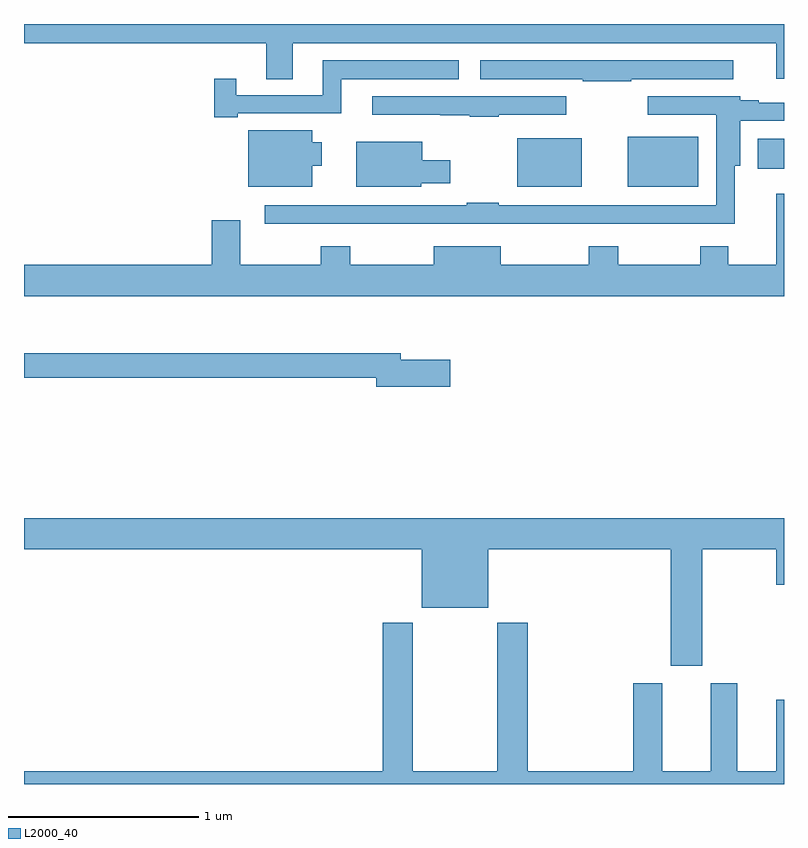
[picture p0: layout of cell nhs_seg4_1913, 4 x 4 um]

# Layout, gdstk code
import gdstk
lib = gdstk.Library(unit=1e-6, precision=1e-09)
def R(c, l, rs):  # rectangles x0, y0, x1, y1
    for r in rs: c.add(gdstk.rectangle(r[:2], r[2:], *l))
def P(c, l, *ps):  # polygons
    for p in ps: c.add(gdstk.Polygon(p, *l))
L2000_40 = (2000, 40)

nhs_seg4_1913 = lib.new_cell('nhs_seg4_1913')
R(nhs_seg4_1913, L2000_40, [(211.595,816.044,211.936,816.298), (212.177,816.044,212.548,816.307), (212.862,816.137,213,816.295)])
P(nhs_seg4_1913, L2000_40, [(210.415,816.8),(212.96,816.8),(212.96,816.612),(213,816.612),(213,816.9),(209,816.9),(209,816.8),(210.275,816.8),(210.275,816.61),(210.415,816.61)],
  [(212.195,816.608),(212.734,816.608),(212.734,816.709),(211.401,816.709),(211.401,816.608),(211.942,816.608),(211.942,816.598),(212.195,816.598)],
  [(210.124,816.429),(210.67,816.429),(210.67,816.608),(211.288,816.608),(211.288,816.709),(210.572,816.709),(210.572,816.525),(210.118,816.525),(210.118,816.613),(210.001,816.613),(210.001,816.409),(210.124,816.409)],
  [(211.499,816.423),(211.855,816.423),(211.855,816.519),(210.834,816.519),(210.834,816.422),(211.192,816.422),(211.192,816.421),(211.346,816.421),(211.346,816.411),(211.499,816.411)],
  [(211.061,815.85),(211.606,815.85),(211.606,815.849),(211.883,815.849),(211.883,815.85),(212.215,815.85),(212.215,815.849),(212.471,815.849),(212.471,815.85),(212.742,815.85),(212.742,816.155),(212.77,816.155),(212.77,816.39),(213,816.39),(213,816.486),(212.866,816.486),(212.866,816.499),(212.77,816.499),(212.77,816.519),(212.283,816.519),(212.283,816.423),(212.643,816.423),(212.643,815.946),(211.499,815.946),(211.499,815.959),(211.33,815.959),(211.33,815.946),(210.267,815.946),(210.267,815.85),(210.805,815.85),(210.805,815.849),(211.061,815.849)],
  [(210.517,816.155),(210.568,816.155),(210.568,816.277),(210.517,816.277),(210.517,816.34),(210.179,816.34),(210.179,816.044),(210.517,816.044)],
  [(211.092,816.062),(211.243,816.062),(211.243,816.184),(211.096,816.184),(211.096,816.28),(210.749,816.28),(210.749,816.044),(211.092,816.044)],
  [(213,816.007),(212.96,816.007),(212.96,815.632),(212.707,815.632),(212.707,815.731),(212.56,815.731),(212.56,815.632),(212.127,815.632),(212.127,815.731),(211.972,815.731),(211.972,815.632),(211.51,815.632),(211.51,815.731),(211.157,815.731),(211.157,815.632),(210.717,815.632),(210.717,815.731),(210.562,815.731),(210.562,815.632),(210.139,815.632),(210.139,815.866),(209.987,815.866),(209.987,815.632),(209,815.632),(209,815.468),(213,815.468)],
  [(211.243,815.133),(210.982,815.133),(210.982,815.167),(209,815.167),(209,815.038),(210.854,815.038),(210.854,814.991),(211.243,814.991)],
  [(212.569,814.136),(212.96,814.136),(212.96,813.948),(213,813.948),(213,814.3),(209,814.3),(209,814.136),(211.094,814.136),(211.094,813.827),(211.444,813.827),(211.444,814.136),(212.405,814.136),(212.405,813.522),(212.569,813.522)],
  [(213,813.343),(212.96,813.343),(212.96,812.968),(212.755,812.968),(212.755,813.43),(212.615,813.43),(212.615,812.968),(212.359,812.968),(212.359,813.43),(212.207,813.43),(212.207,812.968),(211.652,812.968),(211.652,813.748),(211.492,813.748),(211.492,812.968),(211.047,812.968),(211.047,813.748),(210.887,813.748),(210.887,812.968),(209,812.968),(209,812.9),(213,812.9)])

lib.write_gds('nhs_seg4_1913.gds')
